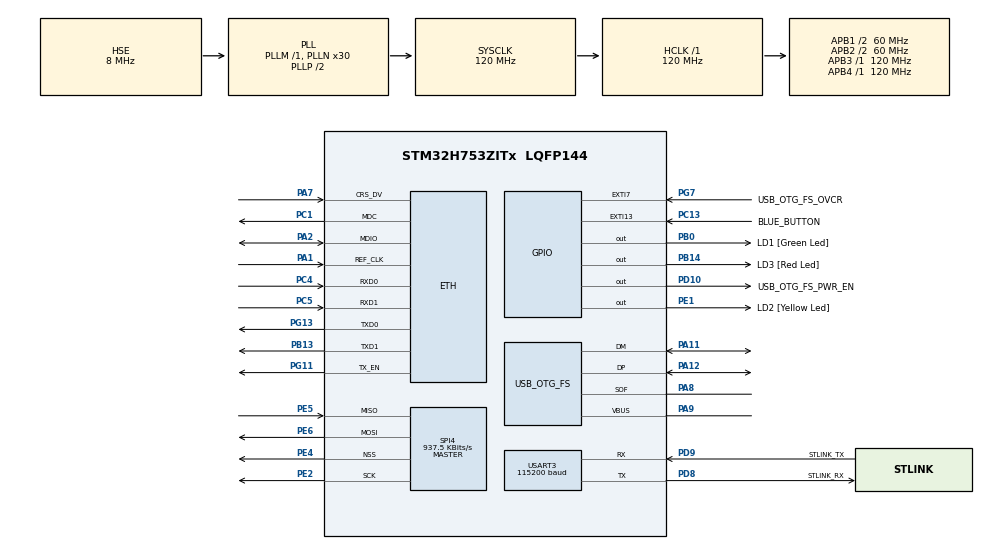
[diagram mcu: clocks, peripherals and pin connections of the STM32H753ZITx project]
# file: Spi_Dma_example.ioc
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CORTEX_M7.CPU_DCache=Disabled
CORTEX_M7.CPU_ICache=Disabled
CORTEX_M7.MPU_Control=__NULL
Dma.Request0=SPI4_RX
Dma.Request1=SPI4_TX
Dma.SPI4_RX.0.Direction=DMA_PERIPH_TO_MEMORY
Dma.SPI4_RX.0.EventEnable=DISABLE
Dma.SPI4_RX.0.FIFOMode=DMA_FIFOMODE_DISABLE
Dma.SPI4_RX.0.Instance=DMA1_Stream0
Dma.SPI4_RX.0.MemDataAlignment=DMA_MDATAALIGN_BYTE
Dma.SPI4_RX.0.MemInc=DMA_MINC_ENABLE
Dma.SPI4_RX.0.Mode=DMA_NORMAL
Dma.SPI4_RX.0.PeriphDataAlignment=DMA_PDATAALIGN_BYTE
Dma.SPI4_RX.0.PeriphInc=DMA_PINC_DISABLE
Dma.SPI4_RX.0.Polarity=HAL_DMAMUX_REQ_GEN_RISING
Dma.SPI4_RX.0.Priority=DMA_PRIORITY_LOW
Dma.SPI4_RX.0.RequestNumber=1
Dma.SPI4_RX.0.SignalID=NONE
Dma.SPI4_RX.0.SyncEnable=DISABLE
Dma.SPI4_RX.0.SyncPolarity=HAL_DMAMUX_SYNC_NO_EVENT
Dma.SPI4_RX.0.SyncRequestNumber=1
Dma.SPI4_RX.0.SyncSignalID=NONE
Dma.SPI4_TX.1.Direction=DMA_MEMORY_TO_PERIPH
Dma.SPI4_TX.1.EventEnable=DISABLE
Dma.SPI4_TX.1.FIFOMode=DMA_FIFOMODE_DISABLE
Dma.SPI4_TX.1.Instance=DMA1_Stream1
Dma.SPI4_TX.1.MemDataAlignment=DMA_MDATAALIGN_BYTE
Dma.SPI4_TX.1.MemInc=DMA_MINC_ENABLE
Dma.SPI4_TX.1.Mode=DMA_NORMAL
Dma.SPI4_TX.1.PeriphDataAlignment=DMA_PDATAALIGN_BYTE
Dma.SPI4_TX.1.PeriphInc=DMA_PINC_DISABLE
Dma.SPI4_TX.1.Polarity=HAL_DMAMUX_REQ_GEN_RISING
Dma.SPI4_TX.1.Priority=DMA_PRIORITY_LOW
Dma.SPI4_TX.1.RequestNumber=1
Dma.SPI4_TX.1.SignalID=NONE
Dma.SPI4_TX.1.SyncEnable=DISABLE
Dma.SPI4_TX.1.SyncPolarity=HAL_DMAMUX_SYNC_NO_EVENT
Dma.SPI4_TX.1.SyncRequestNumber=1
Dma.SPI4_TX.1.SyncSignalID=NONE
ETH.ETH_RX_DESC_CNT=4
ETH.ETH_TX_DESC_CNT=4
ETH.MACAddr=00\:80\:E1\:00\:00\:00
ETH.MediaInterface=HAL_ETH_RMII_MODE
ETH.RxBuffAddress=0x30040200
ETH.RxBuffLen=1524
ETH.RxDescAddress=0x30040000
ETH.TxDescAddress=0x30040060
Mcu.Family=STM32H7
Mcu.Name=STM32H753ZITx
Mcu.Package=LQFP144
NVIC.DMA1_Stream0_IRQn=true\:0\:0\:false\:false\:true\:false\:true
NVIC.DMA1_Stream1_IRQn=true\:0\:0\:false\:false\:true\:false\:true
NVIC.EXTI15_10_IRQn=true\:0\:0\:false\:false\:true\:true\:true
NVIC.PriorityGroup=NVIC_PRIORITYGROUP_4
NVIC.SPI4_IRQn=true\:0\:0\:false\:false\:true\:false\:true
PA1.Mode=RMII
PA1.Signal=ETH_REF_CLK
PA11.Mode=Device_Only
PA11.Signal=USB_OTG_FS_DM
PA12.Mode=Device_Only
PA12.Signal=USB_OTG_FS_DP
PA2.Mode=RMII
PA2.Signal=ETH_MDIO
PA7.Mode=RMII
PA7.Signal=ETH_CRS_DV
PA8.Mode=Activate_SOF_FS
PA8.Signal=USB_OTG_FS_SOF
PA9.Mode=Activate_VBUS
PA9.Signal=USB_OTG_FS_VBUS
PB0.GPIO_Label=LD1 [Green Led]
PB0.Signal=GPIO_Output
PB13.Mode=RMII
PB13.Signal=ETH_TXD1
PB14.GPIO_Label=LD3 [Red Led]
PB14.Signal=GPIO_Output
PC1.Mode=RMII
PC1.Signal=ETH_MDC
PC13.GPIO_Label=BLUE_BUTTON
PC13.Signal=GPXTI13
PC14-OSC32_IN\ (OSC32_IN).Mode=LSE-External-Oscillator
PC14-OSC32_IN\ (OSC32_IN).Signal=RCC_OSC32_IN
PC15-OSC32_OUT\ (OSC32_OUT).Mode=LSE-External-Oscillator
PC15-OSC32_OUT\ (OSC32_OUT).Signal=RCC_OSC32_OUT
PC4.Mode=RMII
PC4.Signal=ETH_RXD0
PC5.Mode=RMII
PC5.Signal=ETH_RXD1
PD10.GPIO_Label=USB_OTG_FS_PWR_EN
PD10.Signal=GPIO_Output
PD8.GPIO_Label=STLINK_RX
PD8.Mode=Asynchronous
PD8.Signal=USART3_TX
PD9.GPIO_Label=STLINK_TX
PD9.Mode=Asynchronous
PD9.Signal=USART3_RX
PE1.GPIO_Label=LD2 [Yellow Led]
PE1.Signal=GPIO_Output
PE2.Mode=Full_Duplex_Master
PE2.Signal=SPI4_SCK
PE4.Mode=NSS_Signal_Hard_Output
PE4.Signal=SPI4_NSS
PE5.Mode=Full_Duplex_Master
PE5.Signal=SPI4_MISO
PE6.Mode=Full_Duplex_Master
PE6.Signal=SPI4_MOSI
PG11.Mode=RMII
PG11.Signal=ETH_TX_EN
PG13.Mode=RMII
PG13.Signal=ETH_TXD0
PG7.GPIO_Label=USB_OTG_FS_OVCR
PG7.Signal=GPXTI7
PH0-OSC_IN\ (PH0).Mode=HSE-External-Clock-Source
PH0-OSC_IN\ (PH0).Signal=RCC_OSC_IN
PH1-OSC_OUT\ (PH1).Signal=RCC_OSC_OUT
ProjectManager.HeapSize=0x200
ProjectManager.StackSize=0x400
ProjectManager.TargetToolchain=STM32CubeIDE
RCC.ADCFreq_Value=16125000
RCC.APB1Freq_Value=60000000
RCC.APB2Freq_Value=60000000
RCC.APB3Freq_Value=120000000
RCC.APB4Freq_Value=120000000
RCC.CortexFreq_Value=120000000
RCC.D2PPRE1=RCC_APB1_DIV2
RCC.D2PPRE2=RCC_APB2_DIV2
RCC.DIVM1=1
RCC.DIVN1=30
RCC.DIVQ1=4
RCC.HCLKFreq_Value=120000000
RCC.HSE_VALUE=8000000
RCC.PLL2FRACN=0
RCC.PLL3FRACN=0
RCC.PLLFRACN=0
RCC.PWR_Regulator_Voltage_Scale=PWR_REGULATOR_VOLTAGE_SCALE2
RCC.SYSCLKFreq_VALUE=120000000
RCC.SYSCLKSource=RCC_SYSCLKSOURCE_PLLCLK
RCC.USBFreq_Value=60000000
SPI4.BaudRatePrescaler=SPI_BAUDRATEPRESCALER_64
SPI4.CLKPhase=SPI_PHASE_1EDGE
SPI4.CLKPolarity=SPI_POLARITY_LOW
SPI4.CalculateBaudRate=937.5 KBits/s
SPI4.DataSize=SPI_DATASIZE_8BIT
SPI4.Direction=SPI_DIRECTION_2LINES
SPI4.Mode=SPI_MODE_MASTER
SPI4.TIMode=SPI_TIMODE_DISABLE
SPI4.VirtualNSS=VM_NSSHARD
SPI4.VirtualType=VM_MASTER
USART3.AutoBaudRateEnableParam=UART_ADVFEATURE_AUTOBAUDRATE_DISABLE
USART3.BaudRate=115200
USART3.ClockPrescaler=PRESCALER_DIV1
USART3.DMADisableonRxErrorParam=ADVFEATURE_DMA_ENABLEONRXERROR
USART3.DataInvertParam=ADVFEATURE_DATAINV_DISABLE
USART3.FIFOMode=FIFOMODE_DISABLE
USART3.MSBFirstParam=ADVFEATURE_MSBFIRST_DISABLE
USART3.Mode=MODE_TX_RX
USART3.OneBitSampling=UART_ONE_BIT_SAMPLE_DISABLE
USART3.OverSampling=UART_OVERSAMPLING_16
USART3.OverrunDisableParam=ADVFEATURE_OVERRUN_ENABLE
USART3.Parity=PARITY_NONE
USART3.RXFIFOThreshold=RXFIFO_THRESHOLD_1EIGHTHFULL
USART3.RxPinLevelInvertParam=ADVFEATURE_RXINV_DISABLE
USART3.StopBits=STOPBITS_1
USART3.SwapParam=ADVFEATURE_SWAP_DISABLE
USART3.TXFIFOThreshold=TXFIFO_THRESHOLD_1EIGHTHFULL
USART3.TxPinLevelInvertParam=ADVFEATURE_TXINV_DISABLE
USART3.VirtualMode-Asynchronous=VM_ASYNC
USART3.WordLength=WORDLENGTH_8B
USB_OTG_FS.Sof_enable=ENABLE
USB_OTG_FS.VirtualMode=Device_Only
USB_OTG_FS.battery_charging_enable=ENABLE
USB_OTG_FS.low_power_enable=DISABLE
USB_OTG_FS.lpm_enable=DISABLE
USB_OTG_FS.use_dedicated_ep1=DISABLE
USB_OTG_FS.vbus_sensing_enable=ENABLE
board=NUCLEO-H753ZI

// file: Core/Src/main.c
/* USER CODE BEGIN Header */
/**
 ******************************************************************************
 * @file           : main.c
 * @brief          : Main program body
 ******************************************************************************
 * @attention
 *
 * <h2><center>&copy; Copyright (c) 2024 STMicroelectronics.
 * All rights reserved.</center></h2>
 *
 * This software component is licensed by ST under BSD 3-Clause license,
 * the "License"; You may not use this file except in compliance with the
 * License. You may obtain a copy of the License at:
 *                        opensource.org/licenses/BSD-3-Clause
 *
 ******************************************************************************
 */
/* USER CODE END Header */
#include "main.h"
#include "string.h"

#if defined ( __ICCARM__ ) /*!< IAR Compiler */

#pragma location=0x30040000
ETH_DMADescTypeDef  DMARxDscrTab[ETH_RX_DESC_CNT]; /* Ethernet Rx DMA Descriptors */
#pragma location=0x30040060
ETH_DMADescTypeDef  DMATxDscrTab[ETH_TX_DESC_CNT]; /* Ethernet Tx DMA Descriptors */
#pragma location=0x30040200
uint8_t Rx_Buff[ETH_RX_DESC_CNT][ETH_MAX_PACKET_SIZE]; /* Ethernet Receive Buffers */

#elif defined ( __CC_ARM )  /* MDK ARM Compiler */

__attribute__((at(0x30040000))) ETH_DMADescTypeDef  DMARxDscrTab[ETH_RX_DESC_CNT]; /* Ethernet Rx DMA Descriptors */
__attribute__((at(0x30040060))) ETH_DMADescTypeDef  DMATxDscrTab[ETH_TX_DESC_CNT]; /* Ethernet Tx DMA Descriptors */
__attribute__((at(0x30040200))) uint8_t Rx_Buff[ETH_RX_DESC_CNT][ETH_MAX_PACKET_SIZE]; /* Ethernet Receive Buffer */

#elif defined ( __GNUC__ ) /* GNU Compiler */

ETH_DMADescTypeDef DMARxDscrTab[ETH_RX_DESC_CNT] __attribute__((section(".RxDecripSection"))); /* Ethernet Rx DMA Descriptors */
ETH_DMADescTypeDef DMATxDscrTab[ETH_TX_DESC_CNT] __attribute__((section(".TxDecripSection"))); /* Ethernet Tx DMA Descriptors */
uint8_t Rx_Buff[ETH_RX_DESC_CNT][ETH_MAX_PACKET_SIZE] __attribute__((section(".RxArraySection"))); /* Ethernet Receive Buffers */

#endif

ETH_TxPacketConfig TxConfig;

ETH_HandleTypeDef heth;

SPI_HandleTypeDef hspi4;
DMA_HandleTypeDef hdma_spi4_rx;
DMA_HandleTypeDef hdma_spi4_tx;

UART_HandleTypeDef huart3;

PCD_HandleTypeDef hpcd_USB_OTG_FS;

/* USER CODE BEGIN PV */
static uint8_t spi_busy = 0;
static uint8_t button_pushed = 0;
/* USER CODE END PV */

void SystemClock_Config(void);
static void MX_GPIO_Init(void);
static void MX_DMA_Init(void);
static void MX_ETH_Init(void);
static void MX_SPI4_Init(void);
static void MX_USART3_UART_Init(void);
static void MX_USB_OTG_FS_PCD_Init(void);

int main(void) {

	/* MCU Configuration--------------------------------------------------------*/

	/* Reset of all peripherals, Initializes the Flash interface and the Systick. */
	HAL_Init();

	/* Configure the system clock */
	SystemClock_Config();

	/* Initialize all configured peripherals */
	MX_GPIO_Init();
	MX_DMA_Init();
	MX_ETH_Init();
	MX_SPI4_Init();
	MX_USART3_UART_Init();
	MX_USB_OTG_FS_PCD_Init();
	/* USER CODE BEGIN 2 */
	uint8_t data[] = { 0x90, 0, 0, 0, 0, 0 };
	uint8_t buf[32] = { 0 };

	/* USER CODE END 2 */

	/* Infinite loop */
	while (1) {

		/* USER CODE BEGIN 3 */
		while (!button_pushed) {
		}
		button_pushed = 0;
		spi_busy = 1;
		HAL_SPI_TransmitReceive_DMA(&hspi4, data, buf, sizeof(data));
		while (spi_busy) {
		}
	}
	/* USER CODE END 3 */
}

void SystemClock_Config(void) {
	RCC_OscInitTypeDef RCC_OscInitStruct = { 0 };
	RCC_ClkInitTypeDef RCC_ClkInitStruct = { 0 };

	/** Supply configuration update enable
	 */
	HAL_PWREx_ConfigSupply(PWR_LDO_SUPPLY);
	/** Configure the main internal regulator output voltage
	 */
	__HAL_PWR_VOLTAGESCALING_CONFIG(PWR_REGULATOR_VOLTAGE_SCALE2);

	while (!__HAL_PWR_GET_FLAG(PWR_FLAG_VOSRDY)) {
	}
	/** Initializes the RCC Oscillators according to the specified parameters
	 * in the RCC_OscInitTypeDef structure.
	 */
	RCC_OscInitStruct.OscillatorType = RCC_OSCILLATORTYPE_HSE;
	RCC_OscInitStruct.HSEState = RCC_HSE_BYPASS;
	RCC_OscInitStruct.PLL.PLLState = RCC_PLL_ON;
	RCC_OscInitStruct.PLL.PLLSource = RCC_PLLSOURCE_HSE;
	RCC_OscInitStruct.PLL.PLLM = 1;
	RCC_OscInitStruct.PLL.PLLN = 30;
	RCC_OscInitStruct.PLL.PLLP = 2;
	RCC_OscInitStruct.PLL.PLLQ = 4;
	RCC_OscInitStruct.PLL.PLLR = 2;
	RCC_OscInitStruct.PLL.PLLRGE = RCC_PLL1VCIRANGE_3;
	RCC_OscInitStruct.PLL.PLLVCOSEL = RCC_PLL1VCOWIDE;
	RCC_OscInitStruct.PLL.PLLFRACN = 0;
	if (HAL_RCC_OscConfig(&RCC_OscInitStruct) != HAL_OK) {
		Error_Handler();
	}
	/** Initializes the CPU, AHB and APB buses clocks
	 */
	RCC_ClkInitStruct.ClockType = RCC_CLOCKTYPE_HCLK | RCC_CLOCKTYPE_SYSCLK
			| RCC_CLOCKTYPE_PCLK1 | RCC_CLOCKTYPE_PCLK2 | RCC_CLOCKTYPE_D3PCLK1
			| RCC_CLOCKTYPE_D1PCLK1;
	RCC_ClkInitStruct.SYSCLKSource = RCC_SYSCLKSOURCE_PLLCLK;
	RCC_ClkInitStruct.SYSCLKDivider = RCC_SYSCLK_DIV1;
	RCC_ClkInitStruct.AHBCLKDivider = RCC_HCLK_DIV1;
	RCC_ClkInitStruct.APB3CLKDivider = RCC_APB3_DIV1;
	RCC_ClkInitStruct.APB1CLKDivider = RCC_APB1_DIV2;
	RCC_ClkInitStruct.APB2CLKDivider = RCC_APB2_DIV2;
	RCC_ClkInitStruct.APB4CLKDivider = RCC_APB4_DIV1;

	if (HAL_RCC_ClockConfig(&RCC_ClkInitStruct, FLASH_LATENCY_2) != HAL_OK) {
		Error_Handler();
	}
}

static void MX_ETH_Init(void) {

	static uint8_t MACAddr[6];

	heth.Instance = ETH;
	MACAddr[0] = 0x00;
	MACAddr[1] = 0x80;
	MACAddr[2] = 0xE1;
	MACAddr[3] = 0x00;
	MACAddr[4] = 0x00;
	MACAddr[5] = 0x00;
	heth.Init.MACAddr = &MACAddr[0];
	heth.Init.MediaInterface = HAL_ETH_RMII_MODE;
	heth.Init.TxDesc = DMATxDscrTab;
	heth.Init.RxDesc = DMARxDscrTab;
	heth.Init.RxBuffLen = 1524;

	if (HAL_ETH_Init(&heth) != HAL_OK) {
		Error_Handler();
	}

	memset(&TxConfig, 0, sizeof(ETH_TxPacketConfig));
	TxConfig.Attributes = ETH_TX_PACKETS_FEATURES_CSUM
			| ETH_TX_PACKETS_FEATURES_CRCPAD;
	TxConfig.ChecksumCtrl = ETH_CHECKSUM_IPHDR_PAYLOAD_INSERT_PHDR_CALC;
	TxConfig.CRCPadCtrl = ETH_CRC_PAD_INSERT;

}

static void MX_SPI4_Init(void) {

	/* SPI4 parameter configuration*/
	hspi4.Instance = SPI4;
	hspi4.Init.Mode = SPI_MODE_MASTER;
	hspi4.Init.Direction = SPI_DIRECTION_2LINES;
	hspi4.Init.DataSize = SPI_DATASIZE_8BIT;
	hspi4.Init.CLKPolarity = SPI_POLARITY_LOW;
	hspi4.Init.CLKPhase = SPI_PHASE_1EDGE;
	hspi4.Init.NSS = SPI_NSS_HARD_OUTPUT;
	hspi4.Init.BaudRatePrescaler = SPI_BAUDRATEPRESCALER_64;
	hspi4.Init.FirstBit = SPI_FIRSTBIT_MSB;
	hspi4.Init.TIMode = SPI_TIMODE_DISABLE;
	hspi4.Init.CRCCalculation = SPI_CRCCALCULATION_DISABLE;
	hspi4.Init.CRCPolynomial = 0x0;
	hspi4.Init.NSSPMode = SPI_NSS_PULSE_ENABLE;
	hspi4.Init.NSSPolarity = SPI_NSS_POLARITY_LOW;
	hspi4.Init.FifoThreshold = SPI_FIFO_THRESHOLD_01DATA;
	hspi4.Init.TxCRCInitializationPattern =
	SPI_CRC_INITIALIZATION_ALL_ZERO_PATTERN;
	hspi4.Init.RxCRCInitializationPattern =
	SPI_CRC_INITIALIZATION_ALL_ZERO_PATTERN;
	hspi4.Init.MasterSSIdleness = SPI_MASTER_SS_IDLENESS_00CYCLE;
	hspi4.Init.MasterInterDataIdleness = SPI_MASTER_INTERDATA_IDLENESS_00CYCLE;
	hspi4.Init.MasterReceiverAutoSusp = SPI_MASTER_RX_AUTOSUSP_DISABLE;
	hspi4.Init.MasterKeepIOState = SPI_MASTER_KEEP_IO_STATE_DISABLE;
	hspi4.Init.IOSwap = SPI_IO_SWAP_DISABLE;
	if (HAL_SPI_Init(&hspi4) != HAL_OK) {
		Error_Handler();
	}

}

static void MX_USART3_UART_Init(void) {

	huart3.Instance = USART3;
	huart3.Init.BaudRate = 115200;
	huart3.Init.WordLength = UART_WORDLENGTH_8B;
	huart3.Init.StopBits = UART_STOPBITS_1;
	huart3.Init.Parity = UART_PARITY_NONE;
	huart3.Init.Mode = UART_MODE_TX_RX;
	huart3.Init.HwFlowCtl = UART_HWCONTROL_NONE;
	huart3.Init.OverSampling = UART_OVERSAMPLING_16;
	huart3.Init.OneBitSampling = UART_ONE_BIT_SAMPLE_DISABLE;
	huart3.Init.ClockPrescaler = UART_PRESCALER_DIV1;
	huart3.AdvancedInit.AdvFeatureInit = UART_ADVFEATURE_NO_INIT;
	if (HAL_UART_Init(&huart3) != HAL_OK) {
		Error_Handler();
	}
	if (HAL_UARTEx_SetTxFifoThreshold(&huart3, UART_TXFIFO_THRESHOLD_1_8)
			!= HAL_OK) {
		Error_Handler();
	}
	if (HAL_UARTEx_SetRxFifoThreshold(&huart3, UART_RXFIFO_THRESHOLD_1_8)
			!= HAL_OK) {
		Error_Handler();
	}
	if (HAL_UARTEx_DisableFifoMode(&huart3) != HAL_OK) {
		Error_Handler();
	}

}

static void MX_USB_OTG_FS_PCD_Init(void) {

	hpcd_USB_OTG_FS.Instance = USB_OTG_FS;
	hpcd_USB_OTG_FS.Init.dev_endpoints = 9;
	hpcd_USB_OTG_FS.Init.speed = PCD_SPEED_FULL;
	hpcd_USB_OTG_FS.Init.dma_enable = DISABLE;
	hpcd_USB_OTG_FS.Init.phy_itface = PCD_PHY_EMBEDDED;
	hpcd_USB_OTG_FS.Init.Sof_enable = ENABLE;
	hpcd_USB_OTG_FS.Init.low_power_enable = DISABLE;
	hpcd_USB_OTG_FS.Init.lpm_enable = DISABLE;
	hpcd_USB_OTG_FS.Init.battery_charging_enable = ENABLE;
	hpcd_USB_OTG_FS.Init.vbus_sensing_enable = ENABLE;
	hpcd_USB_OTG_FS.Init.use_dedicated_ep1 = DISABLE;
	if (HAL_PCD_Init(&hpcd_USB_OTG_FS) != HAL_OK) {
		Error_Handler();
	}

}

static void MX_DMA_Init(void) {

	/* DMA controller clock enable */
	__HAL_RCC_DMA1_CLK_ENABLE();

	/* DMA interrupt init */
	/* DMA1_Stream0_IRQn interrupt configuration */
	HAL_NVIC_SetPriority(DMA1_Stream0_IRQn, 0, 0);
	HAL_NVIC_EnableIRQ(DMA1_Stream0_IRQn);
	/* DMA1_Stream1_IRQn interrupt configuration */
	HAL_NVIC_SetPriority(DMA1_Stream1_IRQn, 0, 0);
	HAL_NVIC_EnableIRQ(DMA1_Stream1_IRQn);

}

static void MX_GPIO_Init(void) {
	GPIO_InitTypeDef GPIO_InitStruct = { 0 };

	/* GPIO Ports Clock Enable */
	__HAL_RCC_GPIOE_CLK_ENABLE();
	__HAL_RCC_GPIOC_CLK_ENABLE();
	__HAL_RCC_GPIOH_CLK_ENABLE();
	__HAL_RCC_GPIOA_CLK_ENABLE();
	__HAL_RCC_GPIOB_CLK_ENABLE();
	__HAL_RCC_GPIOD_CLK_ENABLE();
	__HAL_RCC_GPIOG_CLK_ENABLE();

	/*Configure GPIO pin Output Level */
	HAL_GPIO_WritePin(GPIOB, LD1_Pin | LD3_Pin, GPIO_PIN_RESET);

	/*Configure GPIO pin Output Level */
	HAL_GPIO_WritePin(USB_OTG_FS_PWR_EN_GPIO_Port, USB_OTG_FS_PWR_EN_Pin,
			GPIO_PIN_RESET);

	/*Configure GPIO pin Output Level */
	HAL_GPIO_WritePin(LD2_GPIO_Port, LD2_Pin, GPIO_PIN_RESET);

	/*Configure GPIO pin : BLUE_BUTTON_Pin */
	GPIO_InitStruct.Pin = BLUE_BUTTON_Pin;
	GPIO_InitStruct.Mode = GPIO_MODE_IT_RISING;
	GPIO_InitStruct.Pull = GPIO_NOPULL;
	HAL_GPIO_Init(BLUE_BUTTON_GPIO_Port, &GPIO_InitStruct);

	/*Configure GPIO pins : LD1_Pin LD3_Pin */
	GPIO_InitStruct.Pin = LD1_Pin | LD3_Pin;
	GPIO_InitStruct.Mode = GPIO_MODE_OUTPUT_PP;
	GPIO_InitStruct.Pull = GPIO_NOPULL;
	GPIO_InitStruct.Speed = GPIO_SPEED_FREQ_LOW;
	HAL_GPIO_Init(GPIOB, &GPIO_InitStruct);

	/*Configure GPIO pin : USB_OTG_FS_PWR_EN_Pin */
	GPIO_InitStruct.Pin = USB_OTG_FS_PWR_EN_Pin;
	GPIO_InitStruct.Mode = GPIO_MODE_OUTPUT_PP;
	GPIO_InitStruct.Pull = GPIO_NOPULL;
	GPIO_InitStruct.Speed = GPIO_SPEED_FREQ_LOW;
	HAL_GPIO_Init(USB_OTG_FS_PWR_EN_GPIO_Port, &GPIO_InitStruct);

	/*Configure GPIO pin : USB_OTG_FS_OVCR_Pin */
	GPIO_InitStruct.Pin = USB_OTG_FS_OVCR_Pin;
	GPIO_InitStruct.Mode = GPIO_MODE_IT_RISING;
	GPIO_InitStruct.Pull = GPIO_NOPULL;
	HAL_GPIO_Init(USB_OTG_FS_OVCR_GPIO_Port, &GPIO_InitStruct);

	/*Configure GPIO pin : LD2_Pin */
	GPIO_InitStruct.Pin = LD2_Pin;
	GPIO_InitStruct.Mode = GPIO_MODE_OUTPUT_PP;
	GPIO_InitStruct.Pull = GPIO_NOPULL;
	GPIO_InitStruct.Speed = GPIO_SPEED_FREQ_LOW;
	HAL_GPIO_Init(LD2_GPIO_Port, &GPIO_InitStruct);

	/* EXTI interrupt init*/
	HAL_NVIC_SetPriority(EXTI15_10_IRQn, 0, 0);
	HAL_NVIC_EnableIRQ(EXTI15_10_IRQn);

}

/* USER CODE BEGIN 4 */
void HAL_SPI_TxRxCpltCallback(SPI_HandleTypeDef *hspi) {
	spi_busy = 0;
}
void HAL_GPIO_EXTI_Callback(uint16_t GPIO_Pin) {
	switch (GPIO_Pin) {
	case BLUE_BUTTON_Pin:
		button_pushed = 1;
		break;
	}
}
/* USER CODE END 4 */

void Error_Handler(void) {
	__disable_irq();
	while (1) {
	}
}

/************************ (C) COPYRIGHT STMicroelectronics *****END OF FILE****/
